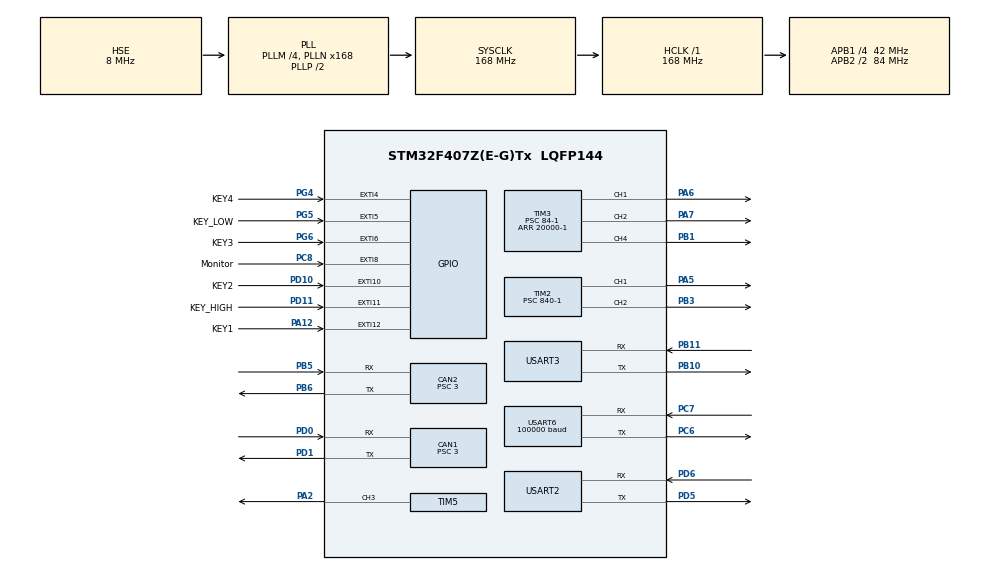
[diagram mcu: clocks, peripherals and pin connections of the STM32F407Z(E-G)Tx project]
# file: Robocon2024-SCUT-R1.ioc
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CAN1.BS1=CAN_BS1_9TQ
CAN1.BS2=CAN_BS2_4TQ
CAN1.CalculateBaudRate=1000000
CAN1.CalculateTimeBit=1000
CAN1.CalculateTimeQuantum=71.42857142857143
CAN1.Prescaler=3
CAN2.BS1=CAN_BS1_9TQ
CAN2.BS2=CAN_BS2_4TQ
CAN2.CalculateBaudRate=1000000
CAN2.CalculateTimeBit=1000
CAN2.CalculateTimeQuantum=71.42857142857143
CAN2.Prescaler=3
Dma.Request0=USART3_RX
Dma.Request1=USART3_TX
Dma.Request2=USART2_RX
Dma.Request3=USART2_TX
Dma.Request4=USART6_TX
Dma.Request5=USART6_RX
Dma.USART2_RX.2.Direction=DMA_PERIPH_TO_MEMORY
Dma.USART2_RX.2.FIFOMode=DMA_FIFOMODE_DISABLE
Dma.USART2_RX.2.Instance=DMA1_Stream5
Dma.USART2_RX.2.MemDataAlignment=DMA_MDATAALIGN_BYTE
Dma.USART2_RX.2.MemInc=DMA_MINC_ENABLE
Dma.USART2_RX.2.Mode=DMA_NORMAL
Dma.USART2_RX.2.PeriphDataAlignment=DMA_PDATAALIGN_BYTE
Dma.USART2_RX.2.PeriphInc=DMA_PINC_DISABLE
Dma.USART2_RX.2.Priority=DMA_PRIORITY_LOW
Dma.USART2_TX.3.Direction=DMA_MEMORY_TO_PERIPH
Dma.USART2_TX.3.FIFOMode=DMA_FIFOMODE_DISABLE
Dma.USART2_TX.3.Instance=DMA1_Stream6
Dma.USART2_TX.3.MemDataAlignment=DMA_MDATAALIGN_BYTE
Dma.USART2_TX.3.MemInc=DMA_MINC_ENABLE
Dma.USART2_TX.3.Mode=DMA_NORMAL
Dma.USART2_TX.3.PeriphDataAlignment=DMA_PDATAALIGN_BYTE
Dma.USART2_TX.3.PeriphInc=DMA_PINC_DISABLE
Dma.USART2_TX.3.Priority=DMA_PRIORITY_LOW
Dma.USART3_RX.0.Direction=DMA_PERIPH_TO_MEMORY
Dma.USART3_RX.0.FIFOMode=DMA_FIFOMODE_DISABLE
Dma.USART3_RX.0.Instance=DMA1_Stream1
Dma.USART3_RX.0.MemDataAlignment=DMA_MDATAALIGN_BYTE
Dma.USART3_RX.0.MemInc=DMA_MINC_ENABLE
Dma.USART3_RX.0.Mode=DMA_NORMAL
Dma.USART3_RX.0.PeriphDataAlignment=DMA_PDATAALIGN_BYTE
Dma.USART3_RX.0.PeriphInc=DMA_PINC_DISABLE
Dma.USART3_RX.0.Priority=DMA_PRIORITY_LOW
Dma.USART3_TX.1.Direction=DMA_MEMORY_TO_PERIPH
Dma.USART3_TX.1.FIFOMode=DMA_FIFOMODE_DISABLE
Dma.USART3_TX.1.Instance=DMA1_Stream3
Dma.USART3_TX.1.MemDataAlignment=DMA_MDATAALIGN_BYTE
Dma.USART3_TX.1.MemInc=DMA_MINC_ENABLE
Dma.USART3_TX.1.Mode=DMA_NORMAL
Dma.USART3_TX.1.PeriphDataAlignment=DMA_PDATAALIGN_BYTE
Dma.USART3_TX.1.PeriphInc=DMA_PINC_DISABLE
Dma.USART3_TX.1.Priority=DMA_PRIORITY_LOW
Dma.USART6_RX.5.Direction=DMA_PERIPH_TO_MEMORY
Dma.USART6_RX.5.FIFOMode=DMA_FIFOMODE_DISABLE
Dma.USART6_RX.5.Instance=DMA2_Stream1
Dma.USART6_RX.5.MemDataAlignment=DMA_MDATAALIGN_BYTE
Dma.USART6_RX.5.MemInc=DMA_MINC_ENABLE
Dma.USART6_RX.5.Mode=DMA_NORMAL
Dma.USART6_RX.5.PeriphDataAlignment=DMA_PDATAALIGN_BYTE
Dma.USART6_RX.5.PeriphInc=DMA_PINC_DISABLE
Dma.USART6_RX.5.Priority=DMA_PRIORITY_LOW
Dma.USART6_TX.4.Direction=DMA_MEMORY_TO_PERIPH
Dma.USART6_TX.4.FIFOMode=DMA_FIFOMODE_DISABLE
Dma.USART6_TX.4.Instance=DMA2_Stream6
Dma.USART6_TX.4.MemDataAlignment=DMA_MDATAALIGN_BYTE
Dma.USART6_TX.4.MemInc=DMA_MINC_ENABLE
Dma.USART6_TX.4.Mode=DMA_NORMAL
Dma.USART6_TX.4.PeriphDataAlignment=DMA_PDATAALIGN_BYTE
Dma.USART6_TX.4.PeriphInc=DMA_PINC_DISABLE
Dma.USART6_TX.4.Priority=DMA_PRIORITY_LOW
FREERTOS.Tasks01=defaultTask,9,128,StartDefaultTask,Default,NULL,Dynamic,NULL,NULL;cha,16,128,chasfunc,Default,NULL,Dynamic,NULL,NULL;logicchassis,15,128,chalogic,Default,NULL,Dynamic,NULL,NULL;Transmit,8,128,StartTransmit,Default,NULL,Dynamic,NULL,NULL;Rise,10,128,StartRiseBall,Default,NULL,Dynamic,NULL,NULL;Throwball,11,128,StartThrowball,Default,NULL,Dynamic,NULL,NULL
IWDG.Prescaler=IWDG_PRESCALER_64
IWDG.Reload=625
Mcu.Family=STM32F4
Mcu.Name=STM32F407Z(E-G)Tx
Mcu.Package=LQFP144
NVIC.CAN1_RX0_IRQn=true\:7\:0\:true\:false\:true\:true\:true\:true\:true
NVIC.CAN1_TX_IRQn=true\:7\:0\:true\:false\:true\:true\:true\:true\:true
NVIC.CAN2_RX0_IRQn=true\:5\:0\:false\:false\:true\:true\:true\:true\:true
NVIC.CAN2_TX_IRQn=true\:5\:0\:false\:false\:true\:true\:true\:true\:true
NVIC.DMA1_Stream1_IRQn=true\:5\:0\:false\:false\:true\:true\:false\:true\:true
NVIC.DMA1_Stream3_IRQn=true\:5\:0\:false\:false\:true\:true\:false\:true\:true
NVIC.DMA1_Stream5_IRQn=true\:5\:0\:false\:false\:true\:true\:false\:true\:true
NVIC.DMA1_Stream6_IRQn=true\:5\:0\:false\:false\:true\:true\:false\:true\:true
NVIC.DMA2_Stream1_IRQn=true\:5\:0\:false\:false\:true\:true\:false\:true\:true
NVIC.DMA2_Stream6_IRQn=true\:5\:0\:false\:false\:true\:true\:false\:true\:true
NVIC.EXTI15_10_IRQn=true\:9\:0\:true\:false\:true\:true\:true\:true\:true
NVIC.EXTI4_IRQn=true\:9\:0\:true\:false\:true\:true\:true\:true\:true
NVIC.EXTI9_5_IRQn=true\:9\:0\:true\:false\:true\:true\:true\:true\:true
NVIC.PriorityGroup=NVIC_PRIORITYGROUP_4
NVIC.TIM1_UP_TIM10_IRQn=true\:6\:0\:true\:false\:true\:true\:true\:true\:true
NVIC.TIM4_IRQn=true\:15\:0\:false\:false\:true\:false\:false\:true\:true
NVIC.TimeBase=TIM4_IRQn
NVIC.TimeBaseIP=TIM4
NVIC.USART2_IRQn=true\:7\:0\:true\:false\:true\:true\:true\:true\:true
NVIC.USART3_IRQn=true\:7\:0\:true\:false\:true\:true\:true\:true\:true
NVIC.USART6_IRQn=true\:7\:0\:true\:false\:true\:true\:true\:true\:true
PA12.GPIO_Label=KEY1
PA12.GPIO_ModeDefaultEXTI=GPIO_MODE_IT_FALLING
PA12.GPIO_PuPd=GPIO_PULLUP
PA12.Signal=GPXTI12
PA13.Mode=Serial_Wire
PA13.Signal=SYS_JTMS-SWDIO
PA14.Mode=Serial_Wire
PA14.Signal=SYS_JTCK-SWCLK
PA2.Signal=S_TIM5_CH3
PA5.Signal=S_TIM2_CH1_ETR
PA6.Signal=S_TIM3_CH1
PA7.Signal=S_TIM3_CH2
PB1.Signal=S_TIM3_CH4
PB10.Mode=Asynchronous
PB10.Signal=USART3_TX
PB11.Mode=Asynchronous
PB11.Signal=USART3_RX
PB3.Signal=S_TIM2_CH2
PB5.Mode=CAN_Activate
PB5.Signal=CAN2_RX
PB6.Mode=CAN_Activate
PB6.Signal=CAN2_TX
PC6.Mode=Asynchronous
PC6.Signal=USART6_TX
PC7.Mode=Asynchronous
PC7.Signal=USART6_RX
PC8.GPIO_Label=Monitor
PC8.GPIO_ModeDefaultEXTI=GPIO_MODE_IT_FALLING
PC8.GPIO_PuPd=GPIO_PULLUP
PC8.Signal=GPXTI8
PD0.Mode=CAN_Activate
PD0.Signal=CAN1_RX
PD1.Mode=CAN_Activate
PD1.Signal=CAN1_TX
PD10.GPIO_Label=KEY2
PD10.GPIO_ModeDefaultEXTI=GPIO_MODE_IT_FALLING
PD10.GPIO_PuPd=GPIO_PULLUP
PD10.Signal=GPXTI10
PD11.GPIO_Label=KEY_HIGH
PD11.GPIO_ModeDefaultEXTI=GPIO_MODE_IT_FALLING
PD11.GPIO_PuPd=GPIO_PULLUP
PD11.Signal=GPXTI11
PD5.Mode=Asynchronous
PD5.Signal=USART2_TX
PD6.Mode=Asynchronous
PD6.Signal=USART2_RX
PG4.GPIO_Label=KEY4
PG4.GPIO_ModeDefaultEXTI=GPIO_MODE_IT_FALLING
PG4.GPIO_PuPd=GPIO_PULLUP
PG4.Signal=GPXTI4
PG5.GPIO_Label=KEY_LOW
PG5.GPIO_ModeDefaultEXTI=GPIO_MODE_IT_FALLING
PG5.GPIO_PuPd=GPIO_PULLUP
PG5.Signal=GPXTI5
PG6.GPIO_Label=KEY3
PG6.GPIO_ModeDefaultEXTI=GPIO_MODE_IT_FALLING
PG6.GPIO_PuPd=GPIO_PULLUP
PG6.Signal=GPXTI6
PH0-OSC_IN.Mode=HSE-External-Oscillator
PH0-OSC_IN.Signal=RCC_OSC_IN
PH1-OSC_OUT.Mode=HSE-External-Oscillator
PH1-OSC_OUT.Signal=RCC_OSC_OUT
ProjectManager.HeapSize=0x200
ProjectManager.StackSize=0x400
ProjectManager.TargetToolchain=MDK-ARM V5.32
RCC.48MHZClocksFreq_Value=84000000
RCC.AHBFreq_Value=168000000
RCC.APB1CLKDivider=RCC_HCLK_DIV4
RCC.APB1Freq_Value=42000000
RCC.APB1TimFreq_Value=84000000
RCC.APB2CLKDivider=RCC_HCLK_DIV2
RCC.APB2Freq_Value=84000000
RCC.APB2TimFreq_Value=168000000
RCC.CortexFreq_Value=168000000
RCC.HCLKFreq_Value=168000000
RCC.HSE_VALUE=8000000
RCC.HSI_VALUE=16000000
RCC.LSE_VALUE=32768
RCC.PLLM=4
RCC.PLLN=168
RCC.PLLSourceVirtual=RCC_PLLSOURCE_HSE
RCC.SYSCLKFreq_VALUE=168000000
RCC.SYSCLKSource=RCC_SYSCLKSOURCE_PLLCLK
RCC.VCOOutputFreq_Value=336000000
SH.S_TIM2_CH1_ETR.0=TIM2_CH1,PWM Generation1 CH1
SH.S_TIM2_CH2.0=TIM2_CH2,PWM Generation2 CH2
SH.S_TIM3_CH1.0=TIM3_CH1,PWM Generation1 CH1
SH.S_TIM3_CH2.0=TIM3_CH2,PWM Generation2 CH2
SH.S_TIM3_CH4.0=TIM3_CH4,PWM Generation4 CH4
SH.S_TIM5_CH3.0=TIM5_CH3,PWM Generation3 CH3
STMicroelectronics.X-CUBE-ALGOBUILD.1.3.0.LibraryCcDSPOoLibraryJjDSPOoLibrary=true
TIM10.AutoReloadPreload=TIM_AUTORELOAD_PRELOAD_ENABLE
TIM10.Period=1000-1
TIM10.Prescaler=168-1
TIM2.Channel-PWM\ Generation1\ CH1=TIM_CHANNEL_1
TIM2.Channel-PWM\ Generation2\ CH2=TIM_CHANNEL_2
TIM2.Period=20000-1
TIM2.Prescaler=840-1
TIM2.Pulse-PWM\ Generation1\ CH1=1000-1
TIM2.Pulse-PWM\ Generation2\ CH2=1000-1
TIM3.Channel-PWM\ Generation1\ CH1=TIM_CHANNEL_1
TIM3.Channel-PWM\ Generation2\ CH2=TIM_CHANNEL_2
TIM3.Channel-PWM\ Generation4\ CH4=TIM_CHANNEL_4
TIM3.OCMode_PWM-PWM\ Generation1\ CH1=TIM_OCMODE_PWM2
TIM3.OCMode_PWM-PWM\ Generation2\ CH2=TIM_OCMODE_PWM2
TIM3.OCMode_PWM-PWM\ Generation4\ CH4=TIM_OCMODE_PWM2
TIM3.Period=20000-1
TIM3.Prescaler=84-1
TIM3.Pulse-PWM\ Generation1\ CH1=1000-1
TIM3.Pulse-PWM\ Generation2\ CH2=1000-1
TIM3.Pulse-PWM\ Generation4\ CH4=1000-1
TIM5.Channel-PWM\ Generation3\ CH3=TIM_CHANNEL_3
TIM5.Period=20000-1
TIM5.Prescaler=84-1
TIM5.Pulse-PWM\ Generation3\ CH3=1000-1
USART2.Parity=PARITY_ODD
USART2.VirtualMode=VM_ASYNC
USART2.WordLength=WORDLENGTH_9B
USART3.VirtualMode=VM_ASYNC
USART6.BaudRate=100000
USART6.Parity=PARITY_EVEN
USART6.StopBits=STOPBITS_2
USART6.VirtualMode=VM_ASYNC
VP_FREERTOS_VS_CMSIS_V2.Mode=CMSIS_V2
VP_IWDG_VS_IWDG.Mode=IWDG_Activate
VP_STMicroelectronics.X-CUBE-ALGOBUILD_VS_DSPOoLibraryJjLibrary_1.3.0_1.3.0.Mode=DSPOoLibraryJjLibrary
VP_SYS_VS_tim4.Mode=TIM4
VP_TIM10_VS_ClockSourceINT.Mode=Enable_Timer
board=custom

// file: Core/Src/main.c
/* USER CODE BEGIN Header */
/**
 ******************************************************************************
 * @file           : main.c
 * @brief          : Main program body
 ******************************************************************************
 * @attention
 *
 * Copyright (c) 2023 STMicroelectronics.
 * All rights reserved.
 *
 * This software is licensed under terms that can be found in the LICENSE file
 * in the root directory of this software component.
 * If no LICENSE file comes with this software, it is provided AS-IS.
 *
 ******************************************************************************
 */
/* USER CODE END Header */
#include "main.h"
#include "cmsis_os.h"
#include "can.h"
#include "dma.h"
#include "iwdg.h"
#include "tim.h"
#include "usart.h"
#include "gpio.h"

/* USER CODE BEGIN Includes */

#include "PID_MODEL.h"
#include "arm_math.h"
#include "bsp_can.h"
#include "motorctrl.h"
#include "stdio.h"
#include "calculate.h"
#include "math.h"
#include "delay.h"
#include "solve.h"
#include "logic.h"
#include "throwball.h"
#include "sbus.h"
// #include "R1_Ball_MODEL.h"
/* USER CODE END Includes */

/* USER CODE BEGIN PTD */
#define VEL      1
#define ANG      2

#define USART_REC_LEN  			100  	//
#define RXBUFFERSIZE   			1 		//

#define CatchBallInit 90

uint8_t USART2_RX_BUF[USART_REC_LEN];
uint16_t USART2_RX_STA = 0;
uint8_t aRxBuffer2[RXBUFFERSIZE];
UART_HandleTypeDef UART2_Handler;

uint8_t USART6_RX_BUF[USART_REC_LEN];
uint16_t USART6_RX_STA = 0;
uint8_t aRxBuffer6[RXBUFFERSIZE];
UART_HandleTypeDef UART6_Handler;

TGT_COOR TC;
REAL_COOR RC;

extern int condition;
extern motor_measure_t   *motor_data[8];
extern motor_measure_t   *motor_data1[8];
extern ang_dir MotorSignal[4];
extern PhotogateAng ANGs;
extern PhotogateSpd Spds;

typedef struct __FILE FILE;
/* USER CODE END PTD */

/* USER CODE BEGIN PD */
#define USART_REC_LEN 100 //
#define RXBUFFERSIZE 1    //
#define VEL      1
#define ANG      2

int receivefactor[4];
//int factor=0;
//int factor1=0;

//int flag=0;
//int flag1=0;
int dir[4];
int ang[4];
int angtemp[4];
int flagf[4];
double Vx,Vy,omega=0;

double theta[4];

DataPacket DataRe;
int16_t lx,ly,rx,ry,lp,rp,LX,LY,RX,RY;
uint8_t B1,B2;
uint8_t Cal_Parity;

double a,b,c,d=0;
uint8_t USART_FLAG=0;
extern double LowAng,HighAng;

int ML_CH3 =  1224  ; // left_spd
int ML_CH4 =  1057 ; // rotate
int MR_CH2 =  987 ; //  right_y  max 1400 min 600
int MR_CH1 =  931 ;  // right_x

/* USER CODE END PD */

void SystemClock_Config(void);
void MX_FREERTOS_Init(void);

int main(void)
{

  /* MCU Configuration--------------------------------------------------------*/

  /* Reset of all peripherals, Initializes the Flash interface and the Systick. */
  HAL_Init();

  /* Configure the system clock */
  SystemClock_Config();

  /* Initialize all configured peripherals */
  MX_GPIO_Init();
  MX_DMA_Init();
  MX_CAN1_Init();
  MX_TIM10_Init();
  MX_USART3_UART_Init();
  MX_IWDG_Init();
  MX_CAN2_Init();
  MX_USART2_UART_Init();
  MX_TIM5_Init();
  MX_TIM3_Init();
  MX_TIM2_Init();
  MX_USART6_UART_Init();
  /* USER CODE BEGIN 2 */
  // Controler Receive Init
  HAL_UART_Receive_DMA(&huart3, (uint8_t *)&DataRe, 1);
  HAL_UART_Receive_DMA(&huart2, aRxBuffer2, 1);
  HAL_UART_Receive_DMA(&huart6, aRxBuffer6, 1);
  // MATLAB Init
  PID_MODEL_initialize();
  HAL_TIM_Base_Start_IT(&htim10);

  // CAN Init
  can_filter_init();
  HAL_CAN_Start(&hcan1);
  HAL_CAN_ActivateNotification(&hcan1, CAN_IT_RX_FIFO0_MSG_PENDING);
  HAL_CAN_Start(&hcan2);
  HAL_CAN_ActivateNotification(&hcan2, CAN_IT_RX_FIFO0_MSG_PENDING);

  // Chassis PID Init

  PID_Speed_Para_Init(1, 1, 10 , 3 , 0.01);
  PID_Speed_Para_Init(1, 2, 10 , 3 , 0.01);
  PID_Speed_Para_Init(1, 3, 10 , 3 , 0.01);
  PID_Speed_Para_Init(1, 4, 10 , 3 , 0.01);
  PID_Angle_S_Para_Init(1, 1 , 1.5 , 0.3 , 0.01);
  PID_Angle_A_Para_Init(1, 1 , 0.5 , 0.1 , 0.01);
  PID_Angle_S_Para_Init(1, 2 , 1.5 , 0.3 , 0.01);
  PID_Angle_A_Para_Init(1, 2 , 0.5 , 0.1 , 0.01);
  PID_Angle_S_Para_Init(1, 3 , 1.5 , 0.3 , 0.01);
  PID_Angle_A_Para_Init(1, 3 , 0.5 , 0.1 , 0.01);
  PID_Angle_S_Para_Init(1, 4 , 1.5 , 0.3 , 0.01);
  PID_Angle_A_Para_Init(1, 4 , 0.5 , 0.1 , 0.01);

  PID_Speed_Para_Init(2, 1, 1.5 , 0.3 , 0.01);
  PID_Speed_Para_Init(2, 2, 1.5 , 0.3 , 0.01);
  PID_Speed_Para_Init(2, 3, 1.5 , 0.3 , 0.01);
  PID_Speed_Para_Init(2, 4, 1.5 , 0.3 , 0.01);

	PID_Angle_S_Para_Init(2, 1 , 1.5 , 0.3 , 0.01);
  PID_Angle_A_Para_Init(2, 1 , 0.5 , 0.1 , 0.01);
  PID_Angle_S_Para_Init(2, 2 , 1.5 , 0.3 , 0.01);
  PID_Angle_A_Para_Init(2, 2 , 0.5 , 0.1 , 0.01);
  PID_Angle_S_Para_Init(2, 3 , 1.5 , 0.3 , 0.01);
  PID_Angle_A_Para_Init(2, 3 , 0.5 , 0.1 , 0.01);
  PID_Angle_S_Para_Init(2, 4 , 1.5 , 0.3 , 0.01);
  PID_Angle_A_Para_Init(2, 4 , 0.5 , 0.1 , 0.01);

	//Get ball PID init
	PID_Speed_Para_Init(1, 5, 10 , 3 , 0.01);
	PID_Speed_Para_Init(1, 6, 10 , 3 , 0.01);
	//throw ball PID init
	PID_Speed_Para_Init(1, 7, 10 , 3 , 0.01);
	PID_Angle_S_Para_Init(1, 7 , 1.5 , 0.3 , 0.01);
  PID_Angle_A_Para_Init(1, 7 , 0.5 , 0.1 , 0.01);
	rtP.TRANS_CH1_7 = 0.7;
	set_mode(VEL, VEL, VEL, VEL, VEL, VEL, VEL,
             VEL, VEL, VEL, VEL, VEL, VEL, VEL);
  // Clamp TIM Init
  HAL_TIM_PWM_Start(&htim3, TIM_CHANNEL_1);
	HAL_TIM_PWM_Start(&htim3, TIM_CHANNEL_2);
	HAL_TIM_PWM_Start(&htim3, TIM_CHANNEL_4);
	HAL_TIM_PWM_Start(&htim5, TIM_CHANNEL_3);
	Set_servo(&htim3, TIM_CHANNEL_1, 10, 20000, 20);//fai(�������ʾ�Ķ��)
	Set_servo(&htim3, TIM_CHANNEL_2,0, 20000, 20);//theta
//	Set_servo(&htim5, TIM_CHANNEL_3,CatchBallInit,20000,20);
  // Clamp PID Init
  // PID_Angle_S_Para_Init(2, 3, 1.5, 0.3, 0.01);
  // PID_Angle_S_Para_Init(2, 4, 1.5, 0.3, 0.01);

  // PID_Angle_A_Para_Init(2, 3, 0.5, 0.1, 0.01);
  // PID_Angle_A_Para_Init(2, 4, 0.5, 0.1, 0.01);
//  PID_Angle_S_Para_Init(2, 3, 0.6901 * 0.75, 2.3727 * 0.17, 0.01);
//  PID_Angle_S_Para_Init(2, 4, 0.6901 * 0.7, 2.3727 * 0.11, 0.0126);

//  PID_Angle_A_Para_Init(2, 3, 0.83005 * 0.85, 0.38548 * 0.02, 0.04    );
//  PID_Angle_A_Para_Init(2, 4, 0.83005 * 0.6 , 0.38548 * 0.02, 0.051858);

//  rtP.TRANS_CH2_3 = 1.1;
//  rtP.TRANS_CH2_4 = 0.4;

//  rtP.DEADBAND_CH2_3 = 800;
//  rtP.DEADBAND_CH2_4 = 800;

  /* USER CODE END 2 */

  /* Init scheduler */
  osKernelInitialize();

  /* Call init function for freertos objects (in cmsis_os2.c) */
  MX_FREERTOS_Init();

  /* Start scheduler */
  osKernelStart();

  /* We should never get here as control is now taken by the scheduler */

  /* Infinite loop */
  while (1)
  {

  }
}

void SystemClock_Config(void)
{
  RCC_OscInitTypeDef RCC_OscInitStruct = {0};
  RCC_ClkInitTypeDef RCC_ClkInitStruct = {0};

  /** Configure the main internal regulator output voltage
  */
  __HAL_RCC_PWR_CLK_ENABLE();
  __HAL_PWR_VOLTAGESCALING_CONFIG(PWR_REGULATOR_VOLTAGE_SCALE1);

  /** Initializes the RCC Oscillators according to the specified parameters
  * in the RCC_OscInitTypeDef structure.
  */
  RCC_OscInitStruct.OscillatorType = RCC_OSCILLATORTYPE_LSI|RCC_OSCILLATORTYPE_HSE;
  RCC_OscInitStruct.HSEState = RCC_HSE_ON;
  RCC_OscInitStruct.LSIState = RCC_LSI_ON;
  RCC_OscInitStruct.PLL.PLLState = RCC_PLL_ON;
  RCC_OscInitStruct.PLL.PLLSource = RCC_PLLSOURCE_HSE;
  RCC_OscInitStruct.PLL.PLLM = 4;
  RCC_OscInitStruct.PLL.PLLN = 168;
  RCC_OscInitStruct.PLL.PLLP = RCC_PLLP_DIV2;
  RCC_OscInitStruct.PLL.PLLQ = 4;
  if (HAL_RCC_OscConfig(&RCC_OscInitStruct) != HAL_OK)
  {
    Error_Handler();
  }

  /** Initializes the CPU, AHB and APB buses clocks
  */
  RCC_ClkInitStruct.ClockType = RCC_CLOCKTYPE_HCLK|RCC_CLOCKTYPE_SYSCLK
                              |RCC_CLOCKTYPE_PCLK1|RCC_CLOCKTYPE_PCLK2;
  RCC_ClkInitStruct.SYSCLKSource = RCC_SYSCLKSOURCE_PLLCLK;
  RCC_ClkInitStruct.AHBCLKDivider = RCC_SYSCLK_DIV1;
  RCC_ClkInitStruct.APB1CLKDivider = RCC_HCLK_DIV4;
  RCC_ClkInitStruct.APB2CLKDivider = RCC_HCLK_DIV2;

  if (HAL_RCC_ClockConfig(&RCC_ClkInitStruct, FLASH_LATENCY_5) != HAL_OK)
  {
    Error_Handler();
  }
}

/* USER CODE BEGIN 4 */

// void HAL_UART_RxCpltCallback(UART_HandleTypeDef *huart)
//{
//		if(DataRe.header==0xAA)
//		{
//			CAL_MESSAGE();
//			HAL_UART_Receive_DMA(&huart3, (uint8_t*)&DataRe + 1, sizeof(DataPacket) - 1);
//		}
//		else if(DataRe.header!=0xAA)
//		{
//			HAL_UART_Receive_DMA(&huart3, (uint8_t*)&DataRe, 1);
//		}
// }
void HAL_UART_RxCpltCallback(UART_HandleTypeDef *huart)
{
  if (huart->Instance == USART3)
  {
    if (DataRe.header == 0xAA && USART_FLAG == 0)
    {
      receivefactor[0] = 1;
      CAL_MESSAGE();
      HAL_UART_Receive_DMA(&huart3, (uint8_t *)&DataRe + 1, sizeof(DataPacket) - 1);
      USART_FLAG = 1;
    }
    if (DataRe.header == 0xAA && USART_FLAG == 1)
    {
      receivefactor[0] = 1;
      CAL_MESSAGE();
      HAL_UART_Receive_DMA(&huart3, (uint8_t *)&DataRe, sizeof(DataPacket));
    }
    else
    {
      HAL_UART_Receive_DMA(&huart3, (uint8_t *)&DataRe, 1);
      USART_FLAG = 0;
    }
  }

  while (huart->Instance == USART2) // uart2 ?
  {
    USART2_RX_BUF[USART2_RX_STA] = aRxBuffer2[0];
    if (USART2_RX_STA == 0 && USART2_RX_BUF[USART2_RX_STA] != 0x0F)
    {
      HAL_UART_Receive_DMA(&huart2, aRxBuffer2, 1);
      break; //
    }
    USART2_RX_STA++;
    HAL_UART_Receive_DMA(&huart2, aRxBuffer2, 1);
    if (USART2_RX_STA > USART_REC_LEN)
      USART2_RX_STA = 0;                                                              //
    if (USART2_RX_BUF[0] == 0x0F && USART2_RX_BUF[15] == 0xAA && USART2_RX_STA == 16) // �?测包头包尾以及数据包长度
    {
      Receive();
      receivefactor[1] = 1;
      Reach_TGT();
      //			for(int i=0;i<14;i++)
      //			  USART2_RX_BUF[i] = 0;//清除数据
      USART2_RX_STA = 0;
    }
    else if (!(USART2_RX_BUF[0] == 0x0F && USART2_RX_BUF[15] == 0xAA) && USART2_RX_STA == 16)
    {
      for (int i = 0; i < 16; i++)
        USART2_RX_BUF[i] = 0; // 清除数据
      USART2_RX_STA = 0;
    }

    break;
  }

		while (huart->Instance == USART6) //uart2 ?
	{
		USART6_RX_BUF[USART6_RX_STA] = aRxBuffer6[0];
		if (USART6_RX_STA == 0 && USART6_RX_BUF[USART6_RX_STA] != 0x0F)
		{			HAL_UART_Receive_DMA(&huart6,aRxBuffer6,1);
		break; //
			}
		USART6_RX_STA++;
			HAL_UART_Receive_DMA(&huart6,aRxBuffer6,1);
		if (USART6_RX_STA > USART_REC_LEN) USART6_RX_STA = 0;  //
		if (USART6_RX_BUF[0] == 0x0F && USART6_RX_BUF[24] == 0x00 && USART6_RX_STA == 25)	//�?测包头包尾以及数据包长度
		{
			update_sbus(USART6_RX_BUF);
			if(receivefactor[1]==0){
			receivefactor[0]=1;
			}
			for(int i=0;i<25;i++)
			  USART6_RX_BUF[i] = 0;//清除数据
			USART6_RX_STA = 0;
		}
		else if(!(USART6_RX_BUF[0] == 0x0F && USART6_RX_BUF[24] == 0x00) && USART6_RX_STA == 25){
			for(int i=0;i<25;i++)
			  USART6_RX_BUF[i] = 0;//清除数据
			USART6_RX_STA = 0;
		}

		break;
	}
}

// 错误回调
void HAL_UART_ErrorCallback(UART_HandleTypeDef *huart)
{
  if (huart->Instance == USART3)
  {
    HAL_UART_Receive_DMA(&huart3, (uint8_t *)&DataRe, 1);
    USART_FLAG = 0;
  }
  if (huart->Instance == USART2)
  {
    HAL_UART_Receive_DMA(&huart2, aRxBuffer2, 1);
  }
}

/* USER CODE END 4 */

void HAL_TIM_PeriodElapsedCallback(TIM_HandleTypeDef *htim)
{
  if (htim->Instance == TIM4) {
    HAL_IncTick();
  }
  /* USER CODE BEGIN Callback 1 */
  if (htim == &htim10)
  {

		LY =  SBUS_CH.CH2 - MR_CH2;
		RX =  SBUS_CH.CH1 - MR_CH1;
    LX =  SBUS_CH.CH4 - ML_CH4;

    assign_output();
    PID_MODEL_step();
    motor_state_update();
    motor_state_update1();
  }
  /* USER CODE END Callback 1 */
}

void Error_Handler(void)
{
  __disable_irq();
  while (1)
  {
  }
}

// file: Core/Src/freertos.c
/* USER CODE BEGIN Header */
/**
 ******************************************************************************
 * File Name          : freertos.c
 * Description        : Code for freertos applications
 ******************************************************************************
 * @attention
 *
 * Copyright (c) 2024 STMicroelectronics.
 * All rights reserved.
 *
 * This software is licensed under terms that can be found in the LICENSE file
 * in the root directory of this software component.
 * If no LICENSE file comes with this software, it is provided AS-IS.
 *
 ******************************************************************************
 */
/* USER CODE END Header */

#include "FreeRTOS.h"
#include "task.h"
#include "main.h"
#include "cmsis_os.h"

/* USER CODE BEGIN Includes */
#include "PID_MODEL.h"
#include "arm_math.h"
#include "bsp_can.h"
#include "motorctrl.h"
#include "stdio.h"
#include "calculate.h"
#include "math.h"
#include "delay.h"
#include "throwball.h"
#include "solve.h"

// #include "R1_Ball_MODEL.h"

/* USER CODE END Includes */

/* USER CODE BEGIN PTD */
#define VEL 1
#define ANG 2

/**
 * @brief motor definition
 * motor_data[0] - motor_data[3]: chassis motors
 * motor_data[4]: ball shooter motor
 * motor_data[5]: ball right motor
 * motor_data[6]: ball left motor
 * motor_data[7]: ball lift motor
 */

#define Throwfai        100//极坐标定义舵�?
#define Throwtheta      115
double ReductionRatio3508=3591/187;
double ReductionRatoiGear=143/58;
double ElecExac3508=8191/360;
double LowAng,HighAng;
extern int AngInit;
extern int angtemp[4];
extern int flagf[4];
extern int dir[4];
extern int ang[4];
extern int condition[10];
extern motor_measure_t   *motor_data[8];
extern motor_measure_t   *motor_data1[8];
extern TGT_COOR TC;
extern REAL_COOR RC;
extern ang_dir MotorSignal[4];
extern PhotogateAng ANGs;
extern PhotogateSpd Spds;
extern double Vx,Vy,omega;
extern int swich[4];
extern int receivefactor[4];
extern DataPacket DataRe;
extern int16_t lx,ly,rx,ry,lp,rp;
extern uint8_t B1,B2;
extern uint8_t Cal_Parity;

typedef struct __FILE FILE;
/* USER CODE END PTD */

/* USER CODE BEGIN PD */

int actionFlag[10];
int statue[10]={0};
int factor[100]={0};
int conditionCounter[10];
int conditionFlag[10];
int AngInitFlag;
int flag=0;
int flag1=0;

int buff_len;
char TransmitBuffer[100];

double HelmInit[4]={0};

extern double theta[4];

int McKnumFlag=0;

int i[10];
/* USER CODE END PD */

/* Definitions for defaultTask */
osThreadId_t defaultTaskHandle;
const osThreadAttr_t defaultTask_attributes = {
  .name = "defaultTask",
  .stack_size = 128 * 4,
  .priority = (osPriority_t) osPriorityLow1,
};
/* Definitions for cha */
osThreadId_t chaHandle;
const osThreadAttr_t cha_attributes = {
  .name = "cha",
  .stack_size = 128 * 4,
  .priority = (osPriority_t) osPriorityBelowNormal,
};
/* Definitions for logicchassis */
osThreadId_t logicchassisHandle;
const osThreadAttr_t logicchassis_attributes = {
  .name = "logicchassis",
  .stack_size = 128 * 4,
  .priority = (osPriority_t) osPriorityLow7,
};
/* Definitions for Transmit */
osThreadId_t TransmitHandle;
const osThreadAttr_t Transmit_attributes = {
  .name = "Transmit",
  .stack_size = 128 * 4,
  .priority = (osPriority_t) osPriorityLow,
};
/* Definitions for Rise */
osThreadId_t RiseHandle;
const osThreadAttr_t Rise_attributes = {
  .name = "Rise",
  .stack_size = 128 * 4,
  .priority = (osPriority_t) osPriorityLow2,
};
/* Definitions for Throwball */
osThreadId_t ThrowballHandle;
const osThreadAttr_t Throwball_attributes = {
  .name = "Throwball",
  .stack_size = 128 * 4,
  .priority = (osPriority_t) osPriorityLow3,
};

/* USER CODE BEGIN FunctionPrototypes */
void throw_ball(){
	if(AngInit!=0){
    rtU.yaw_status_CH1_7=2;
		Set_servo(&htim3, TIM_CHANNEL_2, Throwtheta, 20000, 20);//夹住
		vTaskDelay(500);
		Set_servo(&htim3, TIM_CHANNEL_1, 10, 20000, 20);//抬起
		vTaskDelay(500);
		for(int i=0;i<110;i++){
		rtU.yaw_target_CH1_7= i*ElecExac3508*ReductionRatoiGear*ReductionRatio3508+AngInit;
		vTaskDelay(3);
		}
		Set_servo(&htim3, TIM_CHANNEL_1, 0, 20000, 20);//抬起
		vTaskDelay(200);
		Set_servo(&htim3, TIM_CHANNEL_2, 0, 20000, 20);//撒手
		vTaskDelay(1300);
	  Set_servo(&htim3, TIM_CHANNEL_1, 10, 20000, 20);//抬起
		vTaskDelay(200);
		for(int i=110;i>0;i--){
		rtU.yaw_target_CH1_7= i*ElecExac3508*ReductionRatoiGear*ReductionRatio3508+AngInit;
		vTaskDelay(3);

		}
		Set_servo(&htim3, TIM_CHANNEL_1, Throwfai, 20000, 20);

	}
}

void put_ball(){
		if(AngInit!=0){
		Set_servo(&htim3, TIM_CHANNEL_2, Throwtheta, 20000, 20);//夹住
		vTaskDelay(500);
		Set_servo(&htim3, TIM_CHANNEL_1, 0, 20000, 20);//抬起
		vTaskDelay(500);
		Set_servo(&htim3, TIM_CHANNEL_2, 0, 20000, 20);//撒手
		vTaskDelay(2000);
		Set_servo(&htim3, TIM_CHANNEL_1, Throwfai, 20000, 20);
		}
}

/* USER CODE END FunctionPrototypes */

void StartDefaultTask(void *argument);
void chasfunc(void *argument);
void chalogic(void *argument);
void StartTransmit(void *argument);
void StartRiseBall(void *argument);
void StartThrowball(void *argument);

void MX_FREERTOS_Init(void); /* (MISRA C 2004 rule 8.1) */

void MX_FREERTOS_Init(void) {

  /* Create the thread(s) */
  /* creation of defaultTask */
  defaultTaskHandle = osThreadNew(StartDefaultTask, NULL, &defaultTask_attributes);

  /* creation of cha */
  chaHandle = osThreadNew(chasfunc, NULL, &cha_attributes);

  /* creation of logicchassis */
  logicchassisHandle = osThreadNew(chalogic, NULL, &logicchassis_attributes);

  /* creation of Transmit */
  TransmitHandle = osThreadNew(StartTransmit, NULL, &Transmit_attributes);

  /* creation of Rise */
  RiseHandle = osThreadNew(StartRiseBall, NULL, &Rise_attributes);

  /* creation of Throwball */
  ThrowballHandle = osThreadNew(StartThrowball, NULL, &Throwball_attributes);

}

void StartDefaultTask(void *argument)
{
  /* USER CODE BEGIN StartDefaultTask */
  /* Infinite loop */
  for (;;)
  {

		if(condition[1]==1)
			conditionCounter[1]+=1;

		if(condition[4]==1)
			conditionCounter[4]+=1;

		if(conditionCounter[1]>1000||conditionFlag[1]==1){
			conditionFlag[1]=1;
			if(HelmInit[0]==0)
			rtU.yaw_target_CH2_1=-5000;
				if(HelmInit[1]==0)
			rtU.yaw_target_CH2_2=-5000;
				if(HelmInit[2]==0)
			rtU.yaw_target_CH2_3=-5000;
				if(HelmInit[3]==0)
			rtU.yaw_target_CH2_4=-5000;

		if(AngInit==0)
		{
			rtU.yaw_target_CH1_7=-1000;
		}
		else if(AngInitFlag==0&&AngInit!=0)
		{
			AngInitFlag=1;
			Set_servo(&htim3, TIM_CHANNEL_1, 100, 20000, 20);//fai(极坐标表示的舵机)
			rtU.yaw_status_CH1_7=2;
//
//			if(AngInit>0)
//				{
//		for(int i=0;i*ElecExac3508*ReductionRatoiGear*ReductionRatio3508<AngInit;i++)
//					{
//		      rtU.yaw_target_CH1_7= i*ElecExac3508*ReductionRatoiGear*ReductionRatio3508;
//		      vTaskDelay(100);
//				  }
//			 }
//				else if(AngInit<0)
//				{
         rtU.yaw_target_CH1_7=AngInit;
//			 }
		}
		}

	if(conditionCounter[4]>1000)
	{
		__disable_irq(); //关闭�?有中�?
		NVIC_SystemReset(); //复位
	}

    osDelay(1);
  }
  /* USER CODE END StartDefaultTask */
}

void chasfunc(void *argument)
{
  /* USER CODE BEGIN chasfunc */
  /* Infinite loop */
  for(;;)
  {

if(swich[1]==0){

		Vx=(rx)/8;
		Vy=(ry)/8;
		omega=(lx)/8;
	if(fabs(Vx)<500)
		Vx=0;
	if(fabs(Vy)<500)
		Vy=0;
 if(fabs(omega)<500)
		omega=0;
		}
else if(swich[1]==1)
		{
		Vx=RC.Vx;
		Vy=RC.Vy;
		omega=RC.omega;
		}

			factor[1]++;

		if(receivefactor[0]==0)//没接收到就增加标志位
			factor[0]++;
		if(factor[0]>300){
			Vx=0;Vy=0;omega=0;rx=0;ry=0;lx=0;ly=0;
			factor[0]=301;
		}//1s没收到就全部停下
		if(receivefactor[0]==1)//接收到就标志位置0
			factor[0]=0;

		if (factor[1]==50){
			receivefactor[0]=0;//0.05s更新1次确定为没接收到
			factor[1]=0;
		}

		if(swich[1]==1){
			factor[3]++;

		if(receivefactor[1]==0)//没接收到就增加标志位
			factor[2]++;
		if(factor[2]>300){
			Vx=0;Vy=0;omega=0;
			factor[2]=301;
		}//1s没收到就全部停下
		if(receivefactor[1]==1)//接收到就标志位置0
			factor[2]=0;

		if (factor[3]==1000){
			receivefactor[1]=0;//1s更新1次确定为没接收到
			factor[3]=0;
		}
	}
		HAL_IWDG_Refresh(&hiwdg);//喂狗

		/* SPD TEST */

		get_msgn();

		ctrlmotor( Vx,  Vy,  omega,dir[0],dir[1],dir[2],dir[3],flag1);

if(HelmInit[0]!=0)
{
	rtU.yaw_status_CH2_1=2;
		rtU.yaw_target_CH2_1 = MotorSignal[0].thetas*36*8191*93/(35*360)+HelmInit[0];
}
if(HelmInit[1]!=0) {
	rtU.yaw_status_CH2_2=2;
		rtU.yaw_target_CH2_2 = MotorSignal[1].thetas*36*8191*93/(35*360)+HelmInit[1];
}
if(HelmInit[2]!=0)  {
	rtU.yaw_status_CH2_3=2;
		rtU.yaw_target_CH2_3 = MotorSignal[2].thetas*36*8191*93/(35*360)+HelmInit[2];
}
if(HelmInit[3]!=0) {
	rtU.yaw_status_CH2_4=2;
		rtU.yaw_target_CH2_4 =MotorSignal[3].thetas *36*8191*93/(35*360)+HelmInit[3];
}
    osDelay(1);
  }
  /* USER CODE END chasfunc */
}

void chalogic(void *argument)
{
  /* USER CODE BEGIN chalogic */
  /* Infinite loop */
  for(;;)
  {

		if((fabs(Vx)>500||fabs(Vy)>500||fabs(omega)>500)&&HelmInit[0]!=0&&HelmInit[1]!=0&&HelmInit[2]!=0&&HelmInit[3]!=0){
		MotorSignal[0].thetan=atan2(Vy-omega*cos(atan(1)), Vx-omega*sin(atan(1)))*180/PI;
		MotorSignal[1].thetan=atan2(Vy-omega*cos(atan(1)), Vx+omega*sin(atan(1)))*180/PI;
		MotorSignal[2].thetan=atan2(Vy+omega*cos(atan(1)), Vx+omega*sin(atan(1)))*180/PI;
		MotorSignal[3].thetan=atan2(Vy+omega*cos(atan(1)), Vx-omega*sin(atan(1)))*180/PI;

			for(int i=0;i<4;i++){
			if(fabs(MotorSignal[i].thetan-90)<1)
				MotorSignal[i].thetan=91;
			if(fabs(MotorSignal[i].thetan+90)<1)
				MotorSignal[i].thetan=-89;}

			flag1=1;
		}else if(HelmInit[0]!=0&&HelmInit[1]!=0&&HelmInit[2]!=0&&HelmInit[3]!=0){
		flag1=0;
		}

for(int i=0;i<4;i++){
      cala_d(i);
			if(fabs((double)((int)MotorSignal[i].thetas%360-90))<1)
				MotorSignal[i].thetas=91+(int)MotorSignal[i].thetas/360*360;
			if(fabs((double)((int)MotorSignal[i].thetas%360+90))<1)
				MotorSignal[i].thetas=-89+(int)MotorSignal[i].thetas/360*360;
			if(fabs((double)((int)MotorSignal[i].thetas%360-270))<1)
				MotorSignal[i].thetas=271+(int)MotorSignal[i].thetas/360*360;
			if(fabs((double)((int)MotorSignal[i].thetas%360+270))<1)
				MotorSignal[i].thetas=-269+(int)MotorSignal[i].thetas/360*360;
			theta[i]=MotorSignal[i].thetas+ang[i];
			dir[i]=MotorSignal[i].dir;
      MotorSignal[i].thetal=MotorSignal[i].thetan;
}
    osDelay(1);
  }
  /* USER CODE END chalogic */
}

void StartTransmit(void *argument)
{
  /* USER CODE BEGIN StartTransmit */
  /* Infinite loop */
  for(;;)
  {
//		buff_len = sprintf(TransmitBuffer,"fg %d %d %d %d\r\n",motor_data[0]->speed_rpm,motor_data[1]->speed_rpm,motor_data[2]->speed_rpm,motor_data[3]->speed_rpm);
//			HAL_UART_Transmit_DMA(&huart2,(uint8_t *)TransmitBuffer,buff_len);
		buff_len = sprintf(TransmitBuffer,"fg %d %d %d %d %d %d %d %d\r\n",motor_data[0]->speed_rpm,motor_data[1]->speed_rpm,motor_data[2]->speed_rpm,motor_data[3]->speed_rpm,(int)rtU.yaw_target_CH1_1,(int)rtU.yaw_target_CH1_2,(int)rtU.yaw_target_CH1_3,(int)rtU.yaw_target_CH1_4);
		HAL_UART_Transmit_DMA(&huart2,(uint8_t *)TransmitBuffer,buff_len);

    osDelay(1);
  }
  /* USER CODE END StartTransmit */
}

void StartRiseBall(void *argument)
{
  /* USER CODE BEGIN StartRiseBall */
  /* Infinite loop */

  for(;;)
  {
		if(swich[1]==0){
		if(condition[0]==1)
			conditionCounter[0]+=1;
		if(condition[1]==1)
			conditionCounter[1]+=1;

		if(conditionCounter[0]>50&&conditionFlag[0]==0)
		{
			statue[0]=1-statue[0];
			conditionFlag[0]=1;
		}
		else if(conditionCounter[0]==0){
		conditionFlag[0]=0;
		}

		if(statue[0]==0)
		{
			McKnumFlag=0;
			rtU.yaw_target_CH1_6=0;
			rtU.yaw_target_CH1_5=0;
		}
		else if(statue[0]==1&&McKnumFlag==0)
		{
			McKnumFlag=1;
			rtU.yaw_target_CH1_6=3000;//麦轮
			rtU.yaw_target_CH1_5=9000;
		}

//		if(conditionCounter[1]>100&&conditionFlag[1]==0)
//		{
//			statue[1]=1-statue[1];
//			conditionFlag[1]=1;
//		}
//		else if(conditionCounter[1]==0){
//		conditionFlag[1]=0;
//		}
//
//		if(statue[1]==0)
//		{
//			rtU.yaw_target_CH1_6=0;
//		}
//		else
//		{
//			rtU.yaw_target_CH1_6=3000;
//		}

	}
		else if (swich[1]==1){
			if(RC.action==1&&McKnumFlag==0){
				McKnumFlag=1;
			rtU.yaw_target_CH1_6=3000;//麦轮
			rtU.yaw_target_CH1_5=9000;

			}else if(RC.action!=1)
			{
				McKnumFlag=0;
		  rtU.yaw_target_CH1_6=0;//麦轮
			rtU.yaw_target_CH1_5=0;
			}
		}
osDelay(1);
  }
  /* USER CODE END StartRiseBall */
}

void StartThrowball(void *argument)
{
  /* USER CODE BEGIN StartThrowball */
  /* Infinite loop */
  for(;;)
  {
		if(swich[1]==0){
		if(condition[2]==1)
			conditionCounter[2]+=1;
		if(condition[3]==1)
			conditionCounter[3]+=1;

		if(conditionCounter[2]>100){
        throw_ball();
		}
		if(conditionCounter[3]>100){
        put_ball();

		}
	}
		else if(swich[1]==1)
		{
			if(RC.action==2&&actionFlag[2]==0){
        throw_ball();
				actionFlag[2]=1;
			}
			else if(!(RC.action==2))
				actionFlag[2]=0;

			if(RC.action==3&&actionFlag[3]==0){
        put_ball();
				actionFlag[3]=1;
			}
			else if(!(RC.action==3))
				actionFlag[3]=0;

		}

    osDelay(1);
  }
  /* USER CODE END StartThrowball */
}
